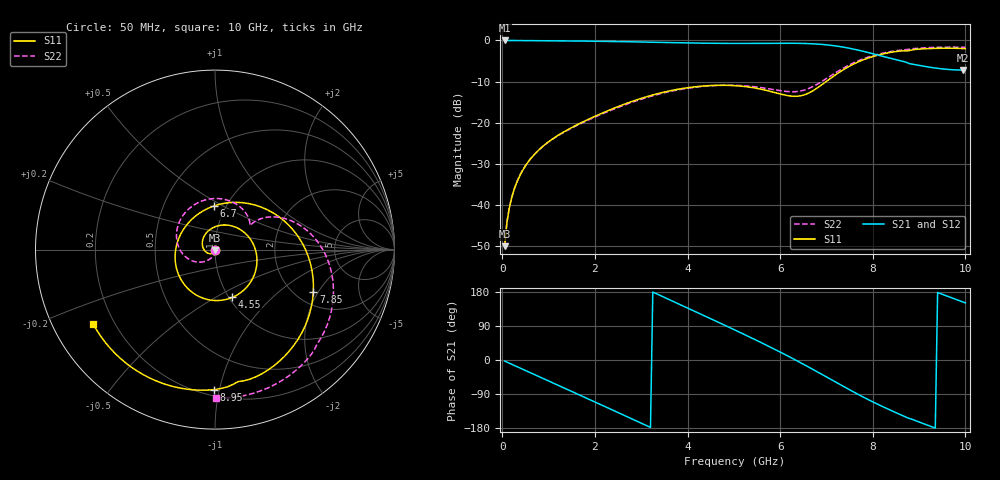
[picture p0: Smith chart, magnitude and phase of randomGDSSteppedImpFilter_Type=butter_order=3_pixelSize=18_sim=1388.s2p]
! freq	dB(S11)	phase(S11)	dB(S12)	phase(S12)
!  dB(S21)	phase(S21)	dB(S22)	phase(S22)
!S-par simulation data
#  GHz  S  DB  R 50
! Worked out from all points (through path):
!   200 points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, 50 MHz to 10 GHz, reference 50 ohm
!   highest |S21| = -0.01 dB at 50 MHz (marker M1); lowest = -7.2 dB at 9.95 GHz (marker M2)
!   group delay of S21, straight-line fit = 163 ps
!   lowest |S11| = -50.1 dB at 50 MHz (marker M3), VSWR 1.01, Z = 50 - j0.312 ohm
!   |S11| at or under -10 dB: start of sweep to 6.995 GHz
!   |S22| runs from -50.1 to -1.6 dB; largest |S21 - S12| = 0
!   S11 on the Smith chart (normalised r, x): 50 MHz: 1.00, -0.01; 4.55 GHz: 1.04, -0.60; 6.7 GHz: 0.88, +0.45; 7.85 GHz: 2.48, -1.81; 8.95 GHz: 0.24, -0.96; 10 GHz: 0.12, -0.28
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0.05  -50.10 -85.6  -0.01 -2.8  -0.01 -2.8  -50.07 -82.4
0.1  -44.36 -93.8  -0.01 -5.6  -0.01 -5.6  -44.28 -88.3
0.2  -38.43 -104.6  -0.02 -11.1  -0.02 -11.1  -38.33 -93.6
0.5  -30.54 -131.6  -0.04 -27.7  -0.04 -27.7  -30.47 -103.8
1.15  -23.49 172.1  -0.09 -63.6  -0.09 -63.6  -23.57 -121.8
1.75  -19.79 120.3  -0.16 -96.9  -0.16 -96.9  -19.95 -136.5
2.2  -17.49 83.0  -0.22 -121.9  -0.22 -121.9  -17.68 -149.0
2.65  -15.46 48.3  -0.30 -147.1  -0.30 -147.1  -15.67 -164.2
3.4  -12.83 -2.7  -0.47 170.9  -0.47 170.9  -13.02 163.5
3.95  -11.60 -35.8  -0.59 140.0  -0.59 140.0  -11.74 135.3
4.55  -10.96 -70.0  -0.70 106.2  -0.70 106.2  -11.01 102.5
5.05  -11.03 -99.3  -0.73 77.6  -0.73 77.6  -10.94 75.3
5.5  -11.68 -129.3  -0.72 51.3  -0.72 51.3  -11.35 53.6
6  -13.03 -173.7  -0.68 21.0  -0.68 21.0  -12.23 37.3
6.7  -12.30 92.0  -0.81 -24.3  -0.81 -24.3  -11.28 35.2
7.3  -7.59 22.5  -1.51 -65.2  -1.51 -65.2  -7.16 22.5
7.85  -4.49 -23.3  -2.80 -101.3  -2.80 -101.3  -4.25 -2.1
8.35  -2.98 -56.9  -4.26 -130.7  -4.26 -130.7  -2.78 -25.9
8.95  -2.16 -90.5  -5.97 -161.2  -5.97 -161.2  -1.92 -51.5
9.45  -1.91 -117.4  -6.86 175.8  -6.86 175.8  -1.66 -70.6
9.95  -1.97 -145.4  -7.22 153.0  -7.22 153.0  -1.65 -87.8
10  -1.99 -148.5  -7.21 150.7  -7.21 150.7  -1.66 -89.4
